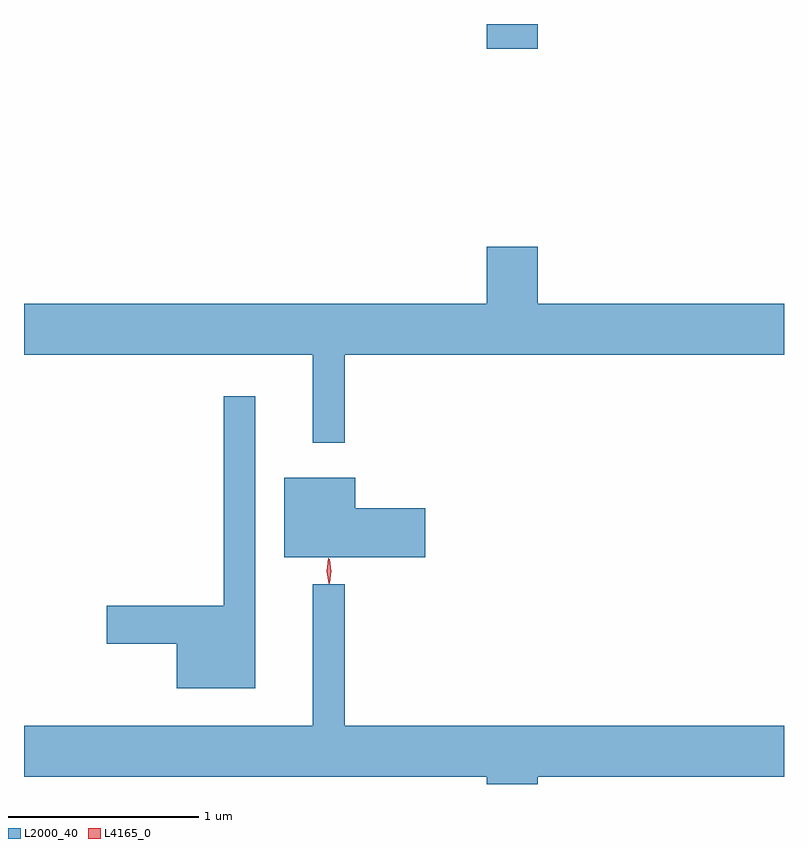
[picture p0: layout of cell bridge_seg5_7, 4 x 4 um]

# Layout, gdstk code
import gdstk
lib = gdstk.Library(unit=1e-6, precision=1e-09)
def R(c, l, rs):  # rectangles x0, y0, x1, y1
    for r in rs: c.add(gdstk.rectangle(r[:2], r[2:], *l))
def P(c, l, *ps):  # polygons
    for p in ps: c.add(gdstk.Polygon(p, *l))
L2000_40 = (2000, 40)
L4165_0 = (4165, 0)

bridge_seg5_7 = lib.new_cell('bridge_seg5_7')
R(bridge_seg5_7, L2000_40, [(1853.436,1482.826,1853.704,1482.957)])
P(bridge_seg5_7, L2000_40, [(1852.689,1481.216),(1855.001,1481.216),(1855.001,1481.484),(1853.704,1481.484),(1853.704,1481.784),(1853.436,1481.784),(1853.436,1481.484),(1851.001,1481.484),(1851.001,1481.216),(1852.521,1481.216),(1852.521,1480.753),(1852.689,1480.753)],
  [(1852.219,1480.998),(1852.051,1480.998),(1852.051,1479.894),(1851.436,1479.894),(1851.436,1479.696),(1851.806,1479.696),(1851.806,1479.461),(1852.219,1479.461)],
  [(1853.114,1480.409),(1852.744,1480.409),(1852.744,1480.569),(1852.371,1480.569),(1852.371,1480.151),(1853.114,1480.151)],
  [(1853.704,1478.996),(1855.001,1478.996),(1855.001,1479.264),(1852.689,1479.264),(1852.689,1480.008),(1852.521,1480.008),(1852.521,1479.264),(1851.001,1479.264),(1851.001,1478.996),(1853.436,1478.996),(1853.436,1478.957),(1853.704,1478.957)])
P(bridge_seg5_7, L4165_0, [(1852.604,1480.01),(1852.594,1480.078),(1852.603,1480.146),(1852.604,1480.146),(1852.604,1480.146),(1852.614,1480.078),(1852.606,1480.01),(1852.605,1480.01)],
  [(1852.608,1480.013),(1852.608,1480.013),(1852.598,1480.076),(1852.608,1480.139),(1852.608,1480.14),(1852.609,1480.139),(1852.618,1480.076),(1852.609,1480.013)])

lib.write_gds('bridge_seg5_7.gds')
